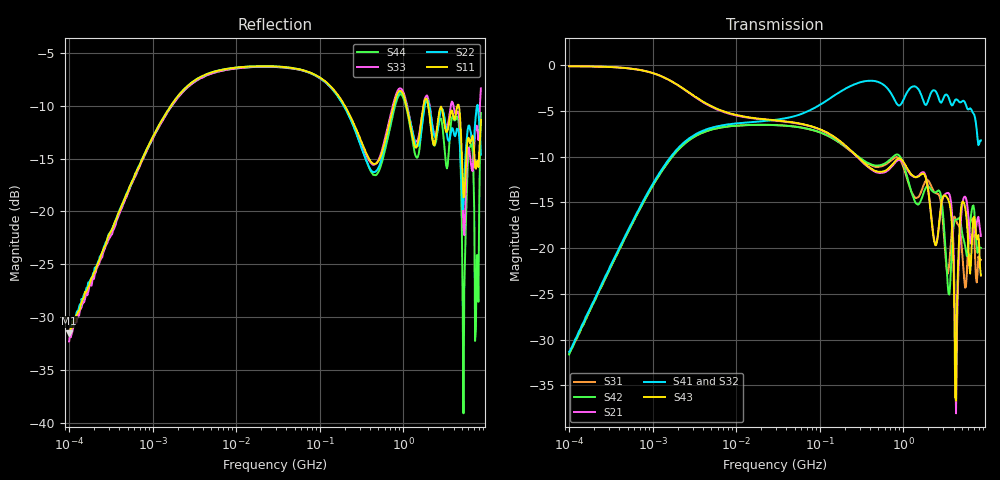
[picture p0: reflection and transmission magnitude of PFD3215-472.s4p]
# MHz S MA R 50
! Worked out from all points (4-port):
!   498 points, 100 kHz to 8.5 GHz, reference 50 ohm
!   strongest paths, dB at 100 kHz, 1.698 MHz, 29.49 MHz, 500.7 MHz, 8.5 GHz:
!     S43: -0.1, -1.8, -6.0, -11.6, -23.0
!     S41: -31.3, -9.8, -6.0, -1.8, -8.2
!     S21: -0.1, -1.8, -6.0, -11.7, -18.7
!     S32: -31.4, -9.8, -6.0, -1.9, -8.5
!     S42: -31.6, -10.0, -6.5, -11.0, -20.0
!     S31: -31.5, -10.0, -6.5, -11.1, -21.3
!   lowest |S11| = -31.5 dB at 100 kHz (marker M1), VSWR 1.05, Z = 50.3 + j2.64 ohm
!   |S11| at or under -10 dB: 1.09 GHz to 1.751 GHz (661.3 MHz wide, 46.6 % of centre); 1.992 GHz to 4.449 GHz (2.457 GHz wide, 76.3 % of centre); 4.618 GHz to end of sweep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
0.1  0.02649 81.2  0.9903 -1.6  0.0265 -94.9  0.02709 84.9
     0.9903 -1.6  0.02646 81.1  0.02701 85.1  0.02621 -95.8
     0.0265 -94.9  0.02701 85.1  0.02428 74.7  0.9892 -1.5
     0.02709 84.9  0.02621 -95.8  0.9892 -1.5  0.02684 79.5
5.441403  0.4591 17.6  0.5835 -18.0  0.449 -163.2  0.4598 20.0
          0.5835 -18.0  0.4584 17.4  0.461 20.1  0.4487 -163.4
          0.449 -163.2  0.461 20.1  0.4534 17.9  0.588 -17.8
          0.4598 20.0  0.4487 -163.4  0.588 -17.8  0.4534 17.8
276.4819  0.2428 -69.4  0.318 -106.2  0.3201 73.8  0.7964 -27.3
          0.318 -106.2  0.2323 -72.4  0.7958 -27.5  0.3224 70.4
          0.3201 73.8  0.7958 -27.5  0.2378 -68.5  0.3197 -106.7
          0.7964 -27.3  0.3224 70.4  0.3197 -106.7  0.2325 -73.9
1367.575  0.205 154.7  0.245 -87.7  0.1905 92.2  0.7681 -178.9
          0.245 -87.7  0.2149 147.5  0.7575 -178.1  0.1816 100.4
          0.1905 92.2  0.7575 -178.1  0.2177 148.6  0.2457 -91.0
          0.7681 -178.9  0.1816 100.4  0.2457 -91.0  0.1904 148.3
2592.178  0.2648 35.2  0.1159 -124.0  0.1983 73.2  0.6836 18.1
          0.1159 -124.0  0.2458 15.3  0.6819 20.0  0.206 76.8
          0.1983 73.2  0.6819 20.0  0.2559 10.8  0.1173 -133.0
          0.6836 18.1  0.206 76.8  0.1173 -133.0  0.2443 33.0
4187.455  0.278 -145.0  0.02842 177.2  0.1464 -91.1  0.6475 176.3
          0.02842 177.2  0.2271 -151.9  0.6358 179.9  0.1433 -91.7
          0.1464 -91.1  0.6358 179.9  0.2918 -167.6  0.01533 161.1
          0.6475 176.3  0.1433 -91.7  0.01533 161.1  0.2702 -145.9
8500  0.2713 -16.6  0.1168 34.4  0.08626 35.8  0.3887 -37.4
      0.1168 34.4  0.1859 -79.8  0.3744 -27.7  0.1003 13.9
      0.08626 35.8  0.3744 -27.7  0.3825 -43.1  0.07083 42.8
      0.3887 -37.4  0.1003 13.9  0.07083 42.8  0.2926 6.6
